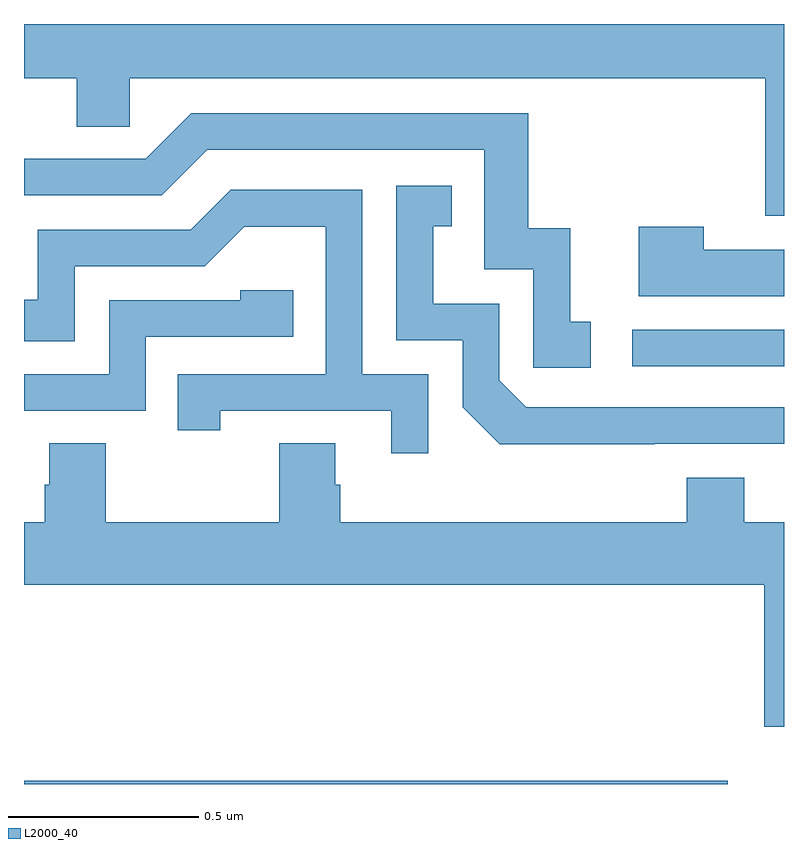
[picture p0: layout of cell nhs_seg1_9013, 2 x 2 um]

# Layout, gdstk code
import gdstk
lib = gdstk.Library(unit=1e-6, precision=1e-09)
def R(c, l, rs):  # rectangles x0, y0, x1, y1
    for r in rs: c.add(gdstk.rectangle(r[:2], r[2:], *l))
def P(c, l, *ps):  # polygons
    for p in ps: c.add(gdstk.Polygon(p, *l))
L2000_40 = (2000, 40)

nhs_seg1_9013 = lib.new_cell('nhs_seg1_9013')
R(nhs_seg1_9013, L2000_40, [(223,559.199,224.852,559.208), (224.601,560.298,225,560.394)])
P(nhs_seg1_9013, L2000_40, [(225,561.199),(223,561.199),(223,561.056),(223.139,561.056),(223.139,560.929),(223.278,560.929),(223.278,561.056),(224.951,561.056),(224.951,560.694),(225,560.694)],
  [(224.491,560.415),(224.438,560.415),(224.438,560.662),(224.327,560.662),(224.327,560.964),(223.44,560.964),(223.32,560.844),(223,560.844),(223,560.748),(223.362,560.748),(223.482,560.868),(224.211,560.868),(224.211,560.553),(224.34,560.553),(224.34,560.295),(224.491,560.295)],
  [(224.66,560.094),(225,560.094),(225,560.19),(224.322,560.19),(224.25,560.262),(224.25,560.463),(224.077,560.463),(224.077,560.667),(224.126,560.667),(224.126,560.773),(223.98,560.773),(223.98,560.367),(224.154,560.367),(224.154,560.19),(224.252,560.093),(224.66,560.093)],
  [(224.064,560.277),(223.89,560.277),(223.89,560.763),(223.544,560.763),(223.439,560.658),(223.036,560.658),(223.036,560.473),(223,560.473),(223,560.364),(223.134,560.364),(223.134,560.562),(223.476,560.562),(223.58,560.666),(223.794,560.666),(223.794,560.277),(223.405,560.277),(223.405,560.13),(223.516,560.13),(223.516,560.181),(223.967,560.181),(223.967,560.07),(224.064,560.07)],
  [(225,560.605),(224.789,560.605),(224.789,560.665),(224.618,560.665),(224.618,560.483),(225,560.483)],
  [(223.32,560.376),(223.709,560.376),(223.709,560.499),(223.569,560.499),(223.569,560.472),(223.224,560.472),(223.224,560.277),(223,560.277),(223,560.181),(223.32,560.181)],
  [(225,559.888),(224.896,559.888),(224.896,560.005),(224.744,560.005),(224.744,559.888),(223.832,559.888),(223.832,559.986),(223.819,559.986),(223.819,560.096),(223.672,560.096),(223.672,559.888),(223.215,559.888),(223.215,560.096),(223.067,560.096),(223.067,559.986),(223.055,559.986),(223.055,559.888),(223,559.888),(223,559.724),(224.948,559.724),(224.948,559.35),(225,559.35)])

lib.write_gds('nhs_seg1_9013.gds')
